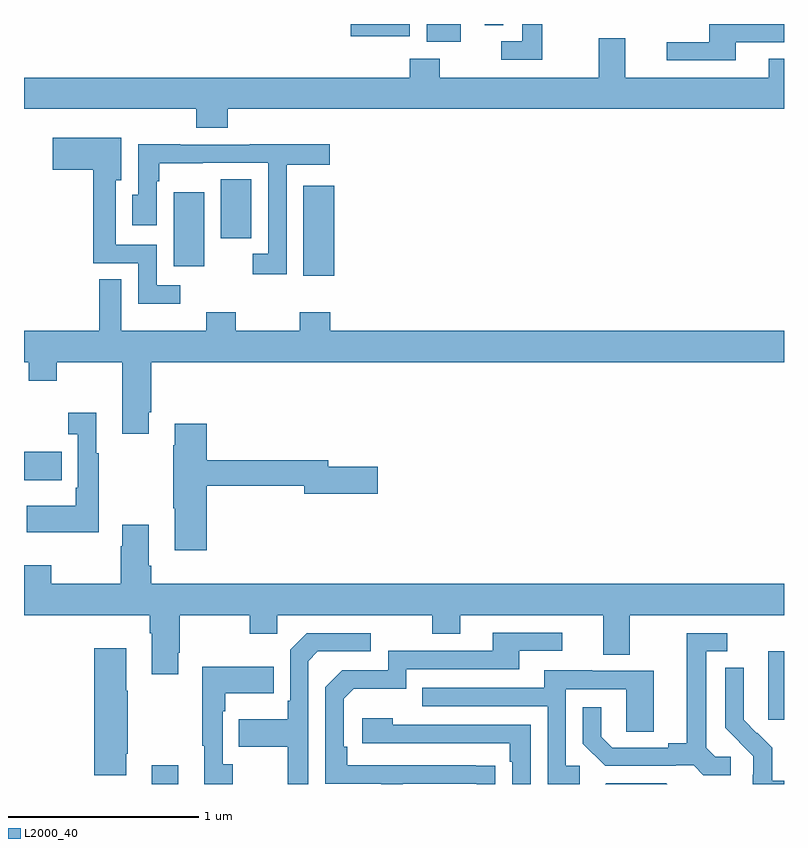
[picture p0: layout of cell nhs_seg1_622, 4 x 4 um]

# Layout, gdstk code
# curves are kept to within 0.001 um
import gdstk
lib = gdstk.Library(unit=1e-6, precision=1e-09)
def R(c, l, rs):  # rectangles x0, y0, x1, y1
    for r in rs: c.add(gdstk.rectangle(r[:2], r[2:], *l))
def P(c, l, *ps):  # polygons
    for p in ps: c.add(gdstk.Polygon(p, *l))
L2000_40 = (2000, 40)

nhs_seg1_622 = lib.new_cell('nhs_seg1_622')
R(nhs_seg1_622, L2000_40, [(145.673,528.199,145.813,528.298), (148.916,528.537,149,528.898), (145,529.799,145.199,529.947), (146.471,530.874,146.632,531.349), (145.787,530.924,145.948,531.313), (146.036,531.072,146.197,531.383), (147.119,532.106,147.298,532.199), (146.721,532.135,147.03,532.199), (147.426,532.192,147.522,532.199)])
P(nhs_seg1_622, L2000_40, [(147.727,532.199),(147.623,532.199),(147.623,532.107),(147.513,532.107),(147.513,532.011),(147.727,532.011)],
  [(148.747,532.104),(149,532.104),(149,532.199),(148.607,532.199),(148.607,532.104),(148.383,532.104),(148.383,532.008),(148.747,532.008)],
  [(146.072,531.752),(149,531.752),(149,532.015),(148.919,532.015),(148.919,531.916),(148.165,531.916),(148.165,532.124),(148.025,532.124),(148.025,531.916),(147.189,531.916),(147.189,532.015),(147.029,532.015),(147.029,531.916),(145,531.916),(145,531.752),(145.907,531.752),(145.907,531.653),(146.072,531.653)],
  [(145.822,530.823),(145.698,530.823),(145.698,531.036),(145.483,531.036),(145.483,531.377),(145.513,531.377),(145.513,531.601),(145.152,531.601),(145.152,531.431),(145.365,531.431),(145.365,530.94),(145.602,530.94),(145.602,530.726),(145.822,530.726)],
  [(146.382,531.458),(146.608,531.458),(146.608,531.566),(146.189,531.566),(146.189,531.564),(145.823,531.564),(145.823,531.566),(145.602,531.566),(145.602,531.3),(145.571,531.3),(145.571,531.141),(145.698,531.141),(145.698,531.371),(145.711,531.371),(145.711,531.467),(145.94,531.467),(145.94,531.468),(146.286,531.468),(146.286,530.991),(146.205,530.991),(146.205,530.883),(146.382,530.883)],
  [(145.657,530.155),(145.67,530.155),(145.67,530.42),(149,530.42),(149,530.584),(146.612,530.584),(146.612,530.683),(146.452,530.683),(146.452,530.584),(146.115,530.584),(146.115,530.683),(145.96,530.683),(145.96,530.584),(145.513,530.584),(145.513,530.855),(145.395,530.855),(145.395,530.584),(145,530.584),(145,530.42),(145.025,530.42),(145.025,530.321),(145.173,530.321),(145.173,530.42),(145.517,530.42),(145.517,530.043),(145.657,530.043)],
  [(145.393,529.939),(145.381,529.939),(145.381,530.152),(145.233,530.152),(145.233,530.039),(145.284,530.039),(145.284,529.759),(145.272,529.759),(145.272,529.663),(145.015,529.663),(145.015,529.523),(145.393,529.523)],
  [(145.961,529.768),(146.474,529.768),(146.474,529.726),(146.863,529.726),(146.863,529.868),(146.602,529.868),(146.602,529.904),(145.961,529.904),(145.961,530.095),(145.793,530.095),(145.793,529.982),(145.786,529.982),(145.786,529.651),(145.793,529.651),(145.793,529.428),(145.961,529.428)],
  [(145.813,528.889),(145.821,528.889),(145.821,529.088),(146.188,529.088),(146.188,528.989),(146.334,528.989),(146.334,529.088),(147.148,529.088),(147.148,528.989),(147.295,528.989),(147.295,529.088),(148.049,529.088),(148.049,528.88),(148.189,528.88),(148.189,529.088),(149,529.088),(149,529.252),(145.67,529.252),(145.67,529.348),(145.657,529.348),(145.657,529.564),(145.517,529.564),(145.517,529.451),(145.51,529.451),(145.51,529.252),(145.143,529.252),(145.143,529.351),(145,529.351),(145,529.088),(145.661,529.088),(145.661,528.992),(145.673,528.992),(145.673,528.777),(145.813,528.777)],
  [(146.993,528.201),(147.383,528.201),(147.383,528.199),(147.479,528.199),(147.479,528.296),(146.702,528.297),(146.702,528.394),(146.682,528.394),(146.682,528.648),(146.735,528.701),(147.012,528.701),(147.012,528.804),(147.607,528.804),(147.607,528.9),(147.832,528.9),(147.832,528.996),(147.467,528.996),(147.467,528.9),(146.916,528.9),(146.916,528.798),(146.676,528.798),(146.586,528.708),(146.586,528.201),(146.881,528.201),(146.881,528.199),(146.993,528.199)],
  [(148.72,528.342),(148.638,528.342),(148.591,528.389),(148.591,528.897),(148.702,528.897),(148.702,528.993),(148.487,528.993),(148.487,528.413),(148.391,528.413),(148.391,528.39),(148.096,528.39),(148.039,528.447),(148.039,528.604),(147.942,528.604),(147.942,528.41),(148.058,528.294),(148.43,528.294),(148.43,528.297),(148.524,528.297),(148.576,528.245),(148.72,528.245)],
  [(146.496,528.846),(146.547,528.897),(146.824,528.897),(146.824,528.993),(146.487,528.993),(146.4,528.906),(146.4,528.637),(146.388,528.637),(146.388,528.541),(146.131,528.541),(146.131,528.394),(146.388,528.394),(146.388,528.199),(146.496,528.199)],
  [(145.537,528.358),(145.545,528.358),(145.545,528.689),(145.537,528.689),(145.537,528.913),(145.37,528.913),(145.37,528.246),(145.537,528.246)],
  [(146.098,528.302),(146.046,528.302),(146.046,528.581),(146.059,528.581),(146.059,528.677),(146.315,528.677),(146.315,528.817),(145.938,528.817),(145.938,528.401),(145.949,528.401),(145.949,528.199),(146.098,528.199)],
  [(149,528.217),(148.937,528.217),(148.937,528.391),(148.86,528.468),(148.857,528.465),(148.787,528.536),(148.788,528.812),(148.692,528.812),(148.692,528.494),(148.838,528.346),(148.838,528.249),(148.836,528.249),(148.836,528.199),(149,528.199)],
  [(147.925,528.294),(147.852,528.294),(147.852,528.699),(148.17,528.699),(148.17,528.475),(148.315,528.475),(148.315,528.795),(147.991,528.795),(147.991,528.799),(147.737,528.799),(147.737,528.705),(147.097,528.705),(147.097,528.609),(147.756,528.609),(147.756,528.199),(147.925,528.199)],
  [(147.666,528.51),(146.942,528.51),(146.942,528.544),(146.781,528.544),(146.781,528.414),(147.557,528.414),(147.557,528.317),(147.57,528.317),(147.57,528.199),(147.666,528.199)],
  [(148.38,528.204),(148.065,528.204),(148.06,528.199),(148.385,528.199)])

lib.write_gds('nhs_seg1_622.gds')
